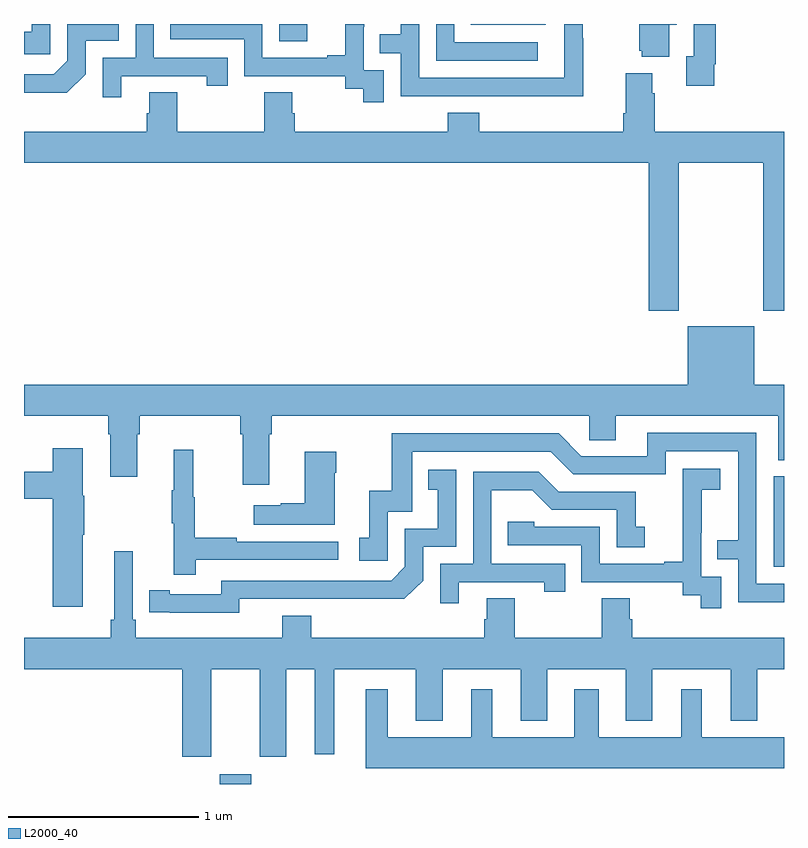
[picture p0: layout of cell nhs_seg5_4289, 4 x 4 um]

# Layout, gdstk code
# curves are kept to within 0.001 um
import gdstk
lib = gdstk.Library(unit=1e-6, precision=1e-09)
def R(c, l, rs):  # rectangles x0, y0, x1, y1
    for r in rs: c.add(gdstk.rectangle(r[:2], r[2:], *l))
def P(c, l, *ps):  # polygons
    for p in ps: c.add(gdstk.Polygon(p, *l))
L2000_40 = (2000, 40)

nhs_seg5_4289 = lib.new_cell('nhs_seg5_4289')
R(nhs_seg5_4289, L2000_40, [(364.031,878.799,364.195,878.851), (366.945,879.942,367,880.419), (364.344,882.708,364.492,882.799), (365.35,882.794,365.746,882.799)])
P(nhs_seg5_4289, L2000_40, [(363.511,882.525),(363.962,882.525),(363.962,882.474),(364.073,882.474),(364.073,882.621),(363.684,882.621),(363.684,882.799),(363.588,882.799),(363.588,882.621),(363.414,882.621),(363.414,882.414),(363.511,882.414)],
  [(366.634,882.586),(366.641,882.586),(366.641,882.799),(366.525,882.799),(366.525,882.63),(366.485,882.63),(366.485,882.474),(366.634,882.474)],
  [(365.704,882.702),(365.265,882.702),(365.265,882.799),(365.169,882.799),(365.169,882.606),(365.704,882.606)],
  [(366.397,882.794),(366.436,882.794),(366.436,882.799),(366.239,882.799),(366.239,882.657),(366.251,882.657),(366.251,882.626),(366.397,882.626)],
  [(363.138,882.799),(363.041,882.799),(363.041,882.759),(363,882.759),(363,882.639),(363.138,882.639)],
  [(363.324,882.534),(363.324,882.711),(363.498,882.711),(363.498,882.799),(363.228,882.799),(363.228,882.606),(363.156,882.534),(363,882.534),(363,882.437),(363.226,882.437)],
  [(364.893,882.555),(364.788,882.555),(364.788,882.785),(364.79,882.785),(364.79,882.799),(364.691,882.799),(364.691,882.634),(364.595,882.634),(364.595,882.621),(364.254,882.621),(364.254,882.799),(363.769,882.799),(363.769,882.72),(364.158,882.72),(364.158,882.525),(364.692,882.525),(364.692,882.457),(364.785,882.457),(364.785,882.387),(364.893,882.387)],
  [(365.943,882.725),(365.94,882.725),(365.94,882.799),(365.844,882.799),(365.844,882.77),(365.843,882.77),(365.843,882.516),(365.079,882.516),(365.079,882.799),(364.983,882.799),(364.983,882.746),(364.873,882.746),(364.873,882.645),(364.983,882.645),(364.983,882.42),(365.479,882.42),(365.479,882.419),(365.943,882.419)],
  [(366.447,882.068),(366.892,882.068),(366.892,881.289),(367,881.289),(367,882.232),(366.32,882.232),(366.32,882.434),(366.307,882.434),(366.307,882.541),(366.167,882.541),(366.167,882.328),(366.155,882.328),(366.155,882.232),(365.396,882.232),(365.396,882.331),(365.231,882.331),(365.231,882.232),(364.424,882.232),(364.424,882.33),(364.411,882.33),(364.411,882.44),(364.264,882.44),(364.264,882.232),(363.807,882.232),(363.807,882.44),(363.659,882.44),(363.659,882.33),(363.647,882.33),(363.647,882.232),(363,882.232),(363,882.068),(366.287,882.068),(366.287,881.289),(366.447,881.289)],
  [(364.291,880.64),(364.304,880.64),(364.304,880.736),(365.976,880.736),(365.976,880.609),(366.115,880.609),(366.115,880.736),(366.971,880.736),(366.971,880.504),(367,880.504),(367,880.9),(366.844,880.9),(366.844,881.209),(366.494,881.209),(366.494,880.9),(363,880.9),(363,880.736),(363.443,880.736),(363.443,880.64),(363.455,880.64),(363.455,880.416),(363.595,880.416),(363.595,880.64),(363.608,880.64),(363.608,880.736),(364.139,880.736),(364.139,880.64),(364.151,880.64),(364.151,880.374),(364.291,880.374)],
  [(367,879.852),(366.855,879.852),(366.855,880.647),(366.281,880.647),(366.281,880.524),(365.934,880.524),(365.814,880.644),(364.935,880.644),(364.935,880.342),(364.817,880.342),(364.817,880.095),(364.764,880.095),(364.764,879.975),(364.914,879.975),(364.914,880.233),(365.043,880.233),(365.043,880.548),(365.772,880.548),(365.892,880.428),(366.378,880.428),(366.378,880.551),(366.759,880.551),(366.759,880.082),(366.649,880.082),(366.649,879.981),(366.759,879.981),(366.759,879.756),(367,879.756)],
  [(363.31,880.111),(363.318,880.111),(363.318,880.317),(363.31,880.317),(363.31,880.567),(363.152,880.567),(363.152,880.443),(363,880.443),(363,880.301),(363.152,880.301),(363.152,879.732),(363.31,879.732)],
  [(363.905,879.978),(364.654,879.978),(364.654,880.074),(364.121,880.074),(364.121,880.094),(363.898,880.094),(363.898,880.308),(363.89,880.308),(363.89,880.558),(363.788,880.558),(363.788,880.345),(363.777,880.345),(363.777,880.171),(363.788,880.171),(363.788,879.9),(363.905,879.9)],
  [(364.636,880.436),(364.644,880.436),(364.644,880.549),(364.478,880.549),(364.478,880.277),(364.352,880.277),(364.352,880.267),(364.209,880.267),(364.209,880.163),(364.636,880.163)],
  [(366.669,879.891),(366.564,879.891),(366.564,880.121),(366.566,880.121),(366.566,880.349),(366.664,880.349),(366.664,880.459),(366.466,880.459),(366.466,880.253),(366.467,880.253),(366.467,879.97),(366.371,879.97),(366.371,879.957),(366.03,879.957),(366.03,880.152),(365.685,880.152),(365.685,880.179),(365.545,880.179),(365.545,880.056),(365.934,880.056),(365.934,879.861),(366.468,879.861),(366.468,879.793),(366.561,879.793),(366.561,879.723),(366.669,879.723)],
  [(364.134,879.774),(365.002,879.773),(365.1,879.87),(365.1,880.047),(365.274,880.047),(365.274,880.453),(365.128,880.453),(365.128,880.347),(365.177,880.347),(365.177,880.143),(365.004,880.143),(365.004,879.942),(364.932,879.87),(364.038,879.87),(364.038,879.798),(363.766,879.798),(363.766,879.818),(363.658,879.818),(363.658,879.702),(364.134,879.701)],
  [(365.287,879.861),(365.738,879.861),(365.738,879.81),(365.849,879.81),(365.849,879.957),(365.46,879.957),(365.46,880.346),(365.674,880.346),(365.778,880.242),(366.12,880.242),(366.12,880.044),(366.268,880.044),(366.268,880.153),(366.219,880.153),(366.219,880.338),(365.815,880.338),(365.71,880.443),(365.364,880.443),(365.364,879.957),(365.19,879.957),(365.19,879.75),(365.287,879.75)],
  [(363.985,879.404),(364.241,879.404),(364.241,878.943),(364.381,878.943),(364.381,879.404),(364.529,879.404),(364.529,878.955),(364.633,878.955),(364.633,879.404),(365.063,879.404),(365.063,879.131),(365.203,879.131),(365.203,879.404),(365.615,879.404),(365.615,879.131),(365.755,879.131),(365.755,879.404),(366.167,879.404),(366.167,879.131),(366.307,879.131),(366.307,879.404),(366.719,879.404),(366.719,879.131),(366.859,879.131),(366.859,879.404),(367,879.404),(367,879.568),(366.2,879.568),(366.2,879.666),(366.187,879.666),(366.187,879.776),(366.04,879.776),(366.04,879.568),(365.583,879.568),(365.583,879.776),(365.435,879.776),(365.435,879.666),(365.423,879.666),(365.423,879.568),(364.511,879.568),(364.511,879.685),(364.358,879.685),(364.358,879.568),(363.587,879.568),(363.587,879.664),(363.573,879.664),(363.573,880.024),(363.476,880.024),(363.476,879.664),(363.457,879.664),(363.457,879.568),(363,879.568),(363,879.404),(363.833,879.404),(363.833,878.943),(363.985,878.943)],
  [(367,879.046),(366.568,879.046),(366.568,879.298),(366.458,879.298),(366.458,879.046),(366.025,879.046),(366.025,879.298),(365.897,879.298),(365.897,879.046),(365.464,879.046),(365.464,879.298),(365.354,879.298),(365.354,879.046),(364.915,879.046),(364.915,879.298),(364.799,879.298),(364.799,878.882),(367,878.882)])

lib.write_gds('nhs_seg5_4289.gds')
